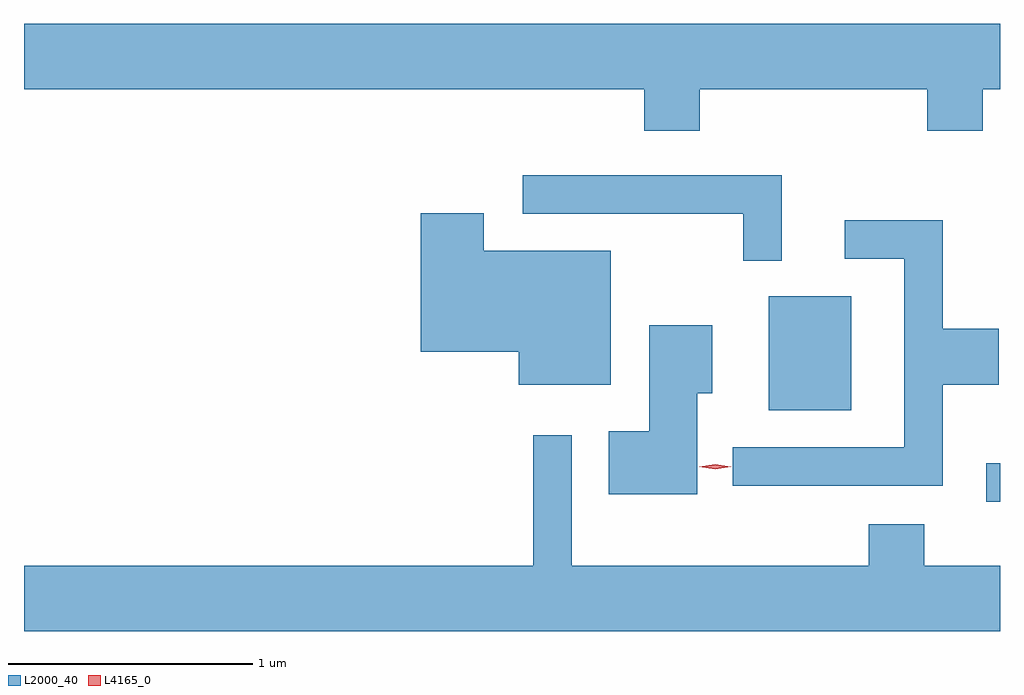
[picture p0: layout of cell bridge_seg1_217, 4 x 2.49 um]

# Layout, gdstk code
import gdstk
lib = gdstk.Library(unit=1e-6, precision=1e-09)
def R(c, l, rs):  # rectangles x0, y0, x1, y1
    for r in rs: c.add(gdstk.rectangle(r[:2], r[2:], *l))
def P(c, l, *ps):  # polygons
    for p in ps: c.add(gdstk.Polygon(p, *l))
L2000_40 = (2000, 40)
L4165_0 = (4165, 0)

bridge_seg1_217 = lib.new_cell('bridge_seg1_217')
R(bridge_seg1_217, L2000_40, [(801.443,882.346,801.499,882.504), (800.551,882.721,800.889,883.189)])
P(bridge_seg1_217, L2000_40, [(800.269,884.036),(801.201,884.036),(801.201,883.866),(801.429,883.866),(801.429,884.036),(801.499,884.036),(801.499,884.304),(797.499,884.304),(797.499,884.036),(800.041,884.036),(800.041,883.866),(800.269,883.866)],
  [(800.604,883.684),(799.543,883.684),(799.543,883.526),(800.446,883.526),(800.446,883.333),(800.604,883.333)],
  [(799.904,883.374),(799.384,883.374),(799.384,883.529),(799.126,883.529),(799.126,882.961),(799.526,882.961),(799.526,882.826),(799.904,882.826)],
  [(801.264,882.826),(801.494,882.826),(801.494,883.054),(801.264,883.054),(801.264,883.499),(800.863,883.499),(800.863,883.341),(801.106,883.341),(801.106,882.569),(800.403,882.569),(800.403,882.411),(801.264,882.411)],
  [(800.259,882.791),(800.319,882.791),(800.319,883.069),(800.061,883.069),(800.061,882.634),(799.896,882.634),(799.896,882.376),(800.259,882.376)],
  [(801.499,882.084),(801.189,882.084),(801.189,882.254),(800.961,882.254),(800.961,882.084),(799.744,882.084),(799.744,882.618),(799.586,882.618),(799.586,882.084),(797.499,882.084),(797.499,881.816),(801.499,881.816)])
P(bridge_seg1_217, L4165_0, [(800.331,882.479),(800.266,882.489),(800.266,882.489),(800.266,882.49),(800.331,882.499),(800.396,882.49),(800.397,882.489),(800.396,882.489)])

lib.write_gds('bridge_seg1_217.gds')
